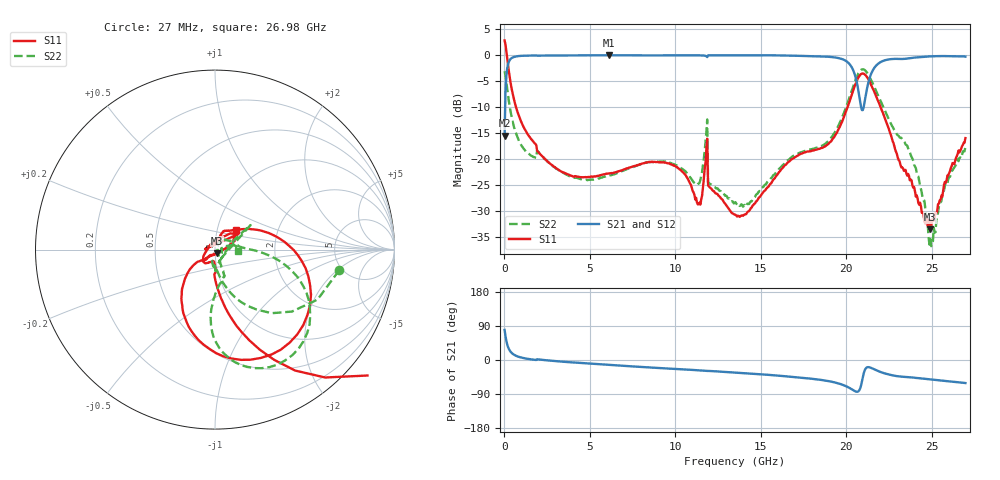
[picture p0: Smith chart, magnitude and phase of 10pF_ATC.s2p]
#  HZ  S  MA  R  50.00
! Rohde & Schwarz ZVA67 4Ports - Version 4.11 - 1305.7002k04 SN: 101051
! Date: 2023-05-24 10:29:11
! Measurements: S11 S21 S12 S22
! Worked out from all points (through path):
!   540 points, 27 MHz to 26.98 GHz, reference 50 ohm
!   highest |S21| = 0.00 dB at 6.127 GHz (marker M1); lowest = -15.5 dB at 27 MHz (marker M2)
!   group delay of S21, straight-line fit = 6.98 ps
!   lowest |S11| = -33.5 dB at 24.93 GHz (marker M3), VSWR 1.04, Z = 50.9 - j1.92 ohm
!   |S11| at or under -10 dB: 695.8 MHz to 20.09 GHz (19.39 GHz wide, 187 % of centre); 22.02 GHz to end of sweep
!   |S22| runs from -36.8 to -2.7 dB; largest |S21 - S12| = 0.061
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2.7e7  1.386 -11.2  0.1677 79.3  0.1686 79.6  0.7011 -9.5
2.77e8  0.6986 -61.7  0.8654 29.1  0.8645 29.0  0.3593 -60.3
6.27e8  0.3472 -78.9  0.9661 12.6  0.9654 12.5  0.1917 -76.2
2.077e9  0.1129 -87.4  0.99 1.1  0.9889 0.8  0.1129 -89.0
4.527e9  0.06694 -97.2  0.9963 -7.9  0.9946 -8.6  0.06363 -100.5
6.127e9  0.07301 -108.9  1 -12.8  0.9988 -13.6  0.06946 -103.3
9.027e9  0.09319 -130.7  0.9953 -21.0  0.9927 -22.3  0.09424 -92.8
1.1377e10  0.03676 145.0  0.9969 -27.1  0.9938 -28.7  0.05804 -20.4
1.1777e10  0.09185 54.5  0.9855 -28.5  0.9818 -30.1  0.1449 29.6
1.2027e10  0.05334 175.0  0.9951 -29.0  0.9933 -30.8  0.05776 -51.8
1.3527e10  0.0291 123.2  0.9963 -33.3  0.9917 -34.9  0.03849 -14.0
1.8027e10  0.1208 60.4  0.9795 -49.7  0.9789 -52.1  0.1254 12.2
1.9977e10  0.2817 21.8  0.8835 -68.7  0.8833 -71.4  0.3093 -6.6
2.0677e10  0.591 -25.2  0.4974 -83.6  0.4969 -86.4  0.6471 -35.0
2.0927e10  0.6646 -51.4  0.2962 -56.8  0.2958 -59.6  0.7291 -53.8
2.1177e10  0.6314 -76.6  0.4355 -20.7  0.4351 -23.7  0.6947 -71.9
2.1677e10  0.4326 -111.5  0.7661 -25.2  0.7652 -28.5  0.4843 -91.0
2.2527e10  0.1881 -140.7  0.9125 -38.4  0.9108 -41.8  0.2377 -88.5
2.3977e10  0.05393 -132.5  0.9474 -46.5  0.9439 -50.1  0.08788 -68.6
2.4927e10  0.02106 -63.6  0.9743 -51.1  0.9698 -54.5  0.017 -20.3
2.5777e10  0.06018 6.9  0.9801 -55.2  0.9759 -58.6  0.05537 52.6
2.6977e10  0.1592 42.2  0.9689 -60.8  0.9653 -64.4  0.1309 -4.5
